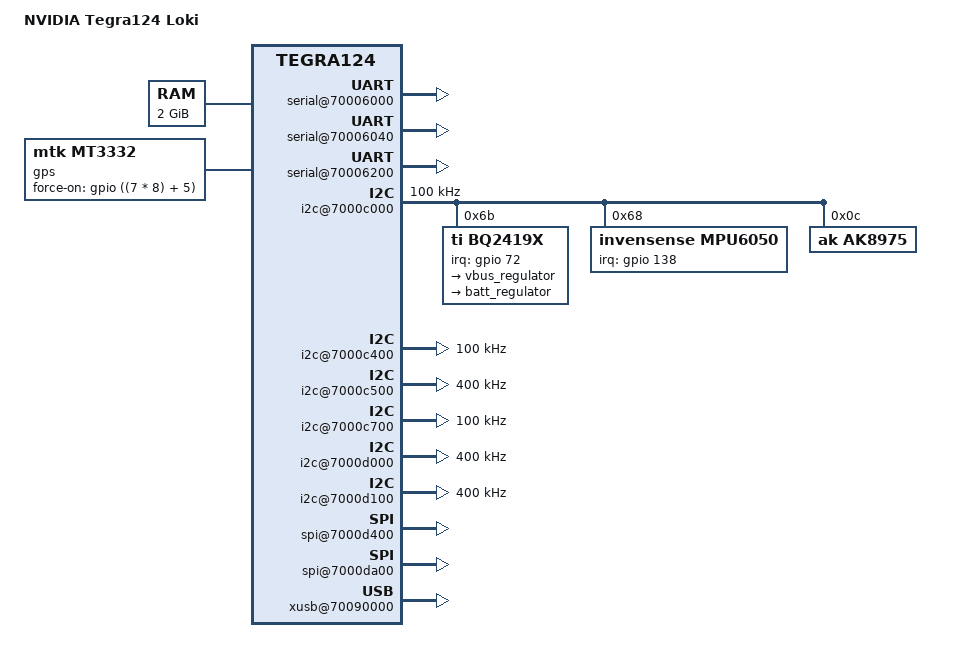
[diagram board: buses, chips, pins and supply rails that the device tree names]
# 1 "arch/arm/boot/dts/tegra124-thor195.dts"
# 1 "<built-in>"
# 1 "<command-line>"
# 1 "arch/arm/boot/dts/tegra124-thor195.dts"
/dts-v1/;

# 1 "arch/arm/boot/dts/tegra124.dtsi" 1
# 1 "/usr/src/kernel/arch/arm/boot/dts/include/dt-bindings/gpio/tegra-gpio.h" 1
# 13 "/usr/src/kernel/arch/arm/boot/dts/include/dt-bindings/gpio/tegra-gpio.h"
# 1 "/usr/src/kernel/arch/arm/boot/dts/include/dt-bindings/gpio/gpio.h" 1
# 14 "/usr/src/kernel/arch/arm/boot/dts/include/dt-bindings/gpio/tegra-gpio.h" 2
# 2 "arch/arm/boot/dts/tegra124.dtsi" 2
# 1 "/usr/src/kernel/arch/arm/boot/dts/include/dt-bindings/input/input.h" 1
# 3 "arch/arm/boot/dts/tegra124.dtsi" 2
# 1 "/usr/src/kernel/arch/arm/boot/dts/include/dt-bindings/interrupt-controller/arm-gic.h" 1







# 1 "/usr/src/kernel/arch/arm/boot/dts/include/dt-bindings/interrupt-controller/irq.h" 1
# 9 "/usr/src/kernel/arch/arm/boot/dts/include/dt-bindings/interrupt-controller/arm-gic.h" 2
# 4 "arch/arm/boot/dts/tegra124.dtsi" 2

/include/ "tegra124-soc.dtsi"

# 1 "arch/arm/boot/dts/skeleton.dtsi" 1






/ {
 #address-cells = <1>;
 #size-cells = <1>;
 chosen { };
 aliases { };
 memory { device_type = "memory"; reg = <0 0>; };
};
# 8 "arch/arm/boot/dts/tegra124.dtsi" 2

/ {
 compatible = "nvidia,tegra124";
 interrupt-parent = <&intc>;
 #address-cells = <1>;
 #size-cells = <1>;

 intc: interrupt-controller@50041000 {
  compatible = "arm,cortex-a15-gic";
  interrupt-controller;
  #interrupt-cells = <3>;
  reg = <0x50041000 0x1000>,
        <0x50042000 0x0100>;
 };

 lic: interrupt-controller@60004000 {
  compatible = "nvidia,tegra-gic";
  interrupt-controller;
  reg = <0x60004000 0x40>,
        <0x60004100 0x40>,
        <0x60004200 0x40>,
        <0x60004300 0x40>,
        <0x60004400 0x40>;
        };

 timer {
  compatible = "arm,armv7-timer";
  interrupts = <1 13 0xf04
         1 14 0xf04>;
 };
};
# 4 "arch/arm/boot/dts/tegra124-thor195.dts" 2


/ {
 model = "NVIDIA Tegra124 Loki";
 compatible = "nvidia,loki", "nvidia,tegra124";
 nvidia,dtsfilename = "arch/arm/boot/dts/tegra124-thor195.dts";
 #address-cells = <1>;
 #size-cells = <1>;

 chosen {
  bootargs = "tegraid=40.0.0.00.00 vmalloc=256M video=tegrafb console=ttyS0,115200n8 earlyprintk";
  linux,initrd-start = <0x85000000>;
  linux,initrd-end = <0x851bc400>;
 };

 serial@70006000 {
  compatible = "nvidia,tegra114-hsuart";
  status = "okay";
 };

 serial@70006040 {
  compatible = "nvidia,tegra114-hsuart";
  status = "okay";
 };

 serial@70006200 {
  compatible = "nvidia,tegra114-hsuart";
  status = "okay";
 };

 memory@0x80000000 {
  device_type = "memory";
  reg = <0x80000000 0x80000000>;
 };

 i2c@7000c000 {
  status = "okay";
  clock-frequency = <100000>;
  bq2419x: bq2419x@6b {
   compatible = "ti,bq2419x";
   reg = <0x6b>;
   interrupt-parent = <&gpio>;
   interrupts = <72 0x0>;
   charging-term-current-mA = <100>;

   vbus {
    regulator-name = "vbus_regulator";
    otg-iusb-gpio = <&gpio ((8 * 8) + 4) 0>;
    consumers {
     c1 {
      regulator-consumer-supply = "usb_vbus";
      regulator-consumer-device = "tegra-ehci.0";
     };

     c2 {
      regulator-consumer-supply = "usb_vbus";
      regulator-consumer-device = "tegra-otg";
     };
    };
   };

   charger {
    regulator-name = "batt_regulator";
    regulator-max-microamp = <3000>;
    watchdog-timeout = <40>;
    rtc-alarm-time = <3600>;
    auto-recharge-time = <1800>;
    consumers {
     c1 {
      regulator-consumer-supply = "usb_bat_chg";
      regulator-consumer-device = "tegra-udc.0";
     };
    };
   };
  };

  mpu6050@68 {
   compatible = "invensense,mpu6050";
   reg = <0x68>;
   interrupt-parent = <&gpio>;
   interrupts = <138 0x01>;
   invensense,int_config = <0x10>;
   invensense,level_shifter = <0>;
   invensense,orientation = [ff 00 00 00 01 00 00 00 ff];
   invensense,sec_slave_type = <0>;
   invensense,key = [4e cc 7e eb f6 1e 35 22
       00 34 0d 65 32 e9 94 89];
  };

  ak8975@0c {
   compatible = "ak,ak8975";
   reg = <0x0c>;
   orientation = [01 00 00 00 ff 00 00 00 ff];
   config = "mpu";
  };
 };

 i2c@7000c400 {
  status = "okay";
  clock-frequency = <100000>;
 };

 i2c@7000c500 {
  status = "okay";
  clock-frequency = <400000>;
 };

 i2c@7000c700 {
  status = "okay";
  clock-frequency = <100000>;
 };

 i2c@7000d000 {
  status = "okay";
  clock-frequency = <400000>;
  nvidia,bit-banging-xfer-after-shutdown;
 };

 i2c@7000d100 {
  status = "okay";
  clock-frequency = <400000>;
 };

 spi@7000d400 {
  status = "okay";
  spi-max-frequency = <25000000>;
 };

 spi@7000da00 {
  status = "okay";
  spi-max-frequency = <25000000>;
 };

 gps {
  compatible = "mtk,mt3332";
  force-on-gpios = <&gpio ((7 * 8) + 5) 0>;
 };

 pmc {
  status = "okay";
  nvidia,invert-interrupt;
  nvidia,suspend-mode = <3>;
  nvidia,cpu-pwr-good-time = <3500>;
  nvidia,cpu-pwr-off-time = <300>;
  nvidia,core-pwr-good-time = <3845 3845>;
  nvidia,core-pwr-off-time = <2000>;
  nvidia,core-power-req-active-high;
  nvidia,sys-clock-req-active-high;
 };

 xusb@70090000 {


  nvidia,gpio_ss1_sata = <0>;
  nvidia,portmap = <0x703>;
  nvidia,ss_portmap = <0x20>;
  nvidia,lane_owner = <6>;
  nvidia,ulpicap = <0>;
  nvidia,supply_utmi_vbuses = "", "", "";
  nvidia,supply_s3p3v = "hvdd_usb";
  nvidia,supply_s1p8v = "avdd_pll_utmip";
  nvidia,supply_vddio_hsic = "vddio_hsic";
  nvidia,supply_s1p05v = "avddio_usb";
  status = "okay";
 };
};
